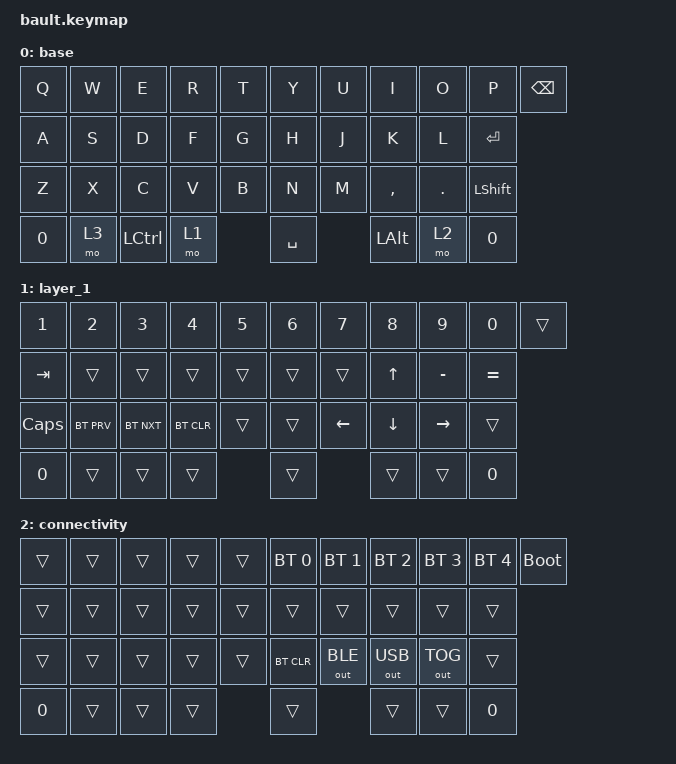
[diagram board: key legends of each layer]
#include <behaviors.dtsi>
#include <dt-bindings/zmk/bt.h>
#include <dt-bindings/zmk/keys.h>
#include <dt-bindings/zmk/outputs.h>

/ {
    behaviors {
        hm: homerow_mods {
            compatible = "zmk,behavior-hold-tap";
            display-name = "Homerow Mods";
            bindings = <&kp>, <&kp>;

            #binding-cells = <2>;
            tapping-term-ms = <200>;
            quick-tap-ms = <180>;
            require-prior-idle-ms = <0>;
            flavor = "tap-preferred";
        };
    };

    keymap {
        compatible = "zmk,keymap";

        base {
            bindings = <
&kp Q   &kp W  &kp E             &kp R  &kp T  &kp Y      &kp U  &kp I         &kp O       &kp P           &kp BACKSPACE
&kp A   &kp S  &kp D             &kp F  &kp G  &kp H      &kp J  &kp K         &kp L       &kp ENTER
&kp Z   &kp X  &kp C             &kp V  &kp B  &kp N      &kp M  &kp COMMA     &kp PERIOD  &kp LEFT_SHIFT
&kp N0  &mo 3  &kp LEFT_CONTROL  &mo 1         &kp SPACE         &kp LEFT_ALT  &mo 2       &kp N0
            >;
        };

        layer_1 {
            bindings = <
&kp N1    &kp N2      &kp N3      &kp N4      &kp N5  &kp N6  &kp N7    &kp N8    &kp N9     &kp N0     &trans
&kp TAB   &trans      &trans      &trans      &trans  &trans  &trans    &kp UP    &kp MINUS  &kp EQUAL
&kp CAPS  &bt BT_PRV  &bt BT_NXT  &bt BT_CLR  &trans  &trans  &kp LEFT  &kp DOWN  &kp RIGHT  &trans
&kp N0    &trans      &trans      &trans              &trans            &trans    &trans     &kp N0
            >;
        };

        connectivity {
            bindings = <
&trans  &trans  &trans  &trans  &trans  &bt BT_SEL 0  &bt BT_SEL 1  &bt BT_SEL 2  &bt BT_SEL 3  &bt BT_SEL 4  &bootloader
&trans  &trans  &trans  &trans  &trans  &trans        &trans        &trans        &trans        &trans
&trans  &trans  &trans  &trans  &trans  &bt BT_CLR    &out OUT_BLE  &out OUT_USB  &out OUT_TOG  &trans
&kp N0  &trans  &trans  &trans          &trans                      &trans        &trans        &kp N0
            >;
        };
    };
};
